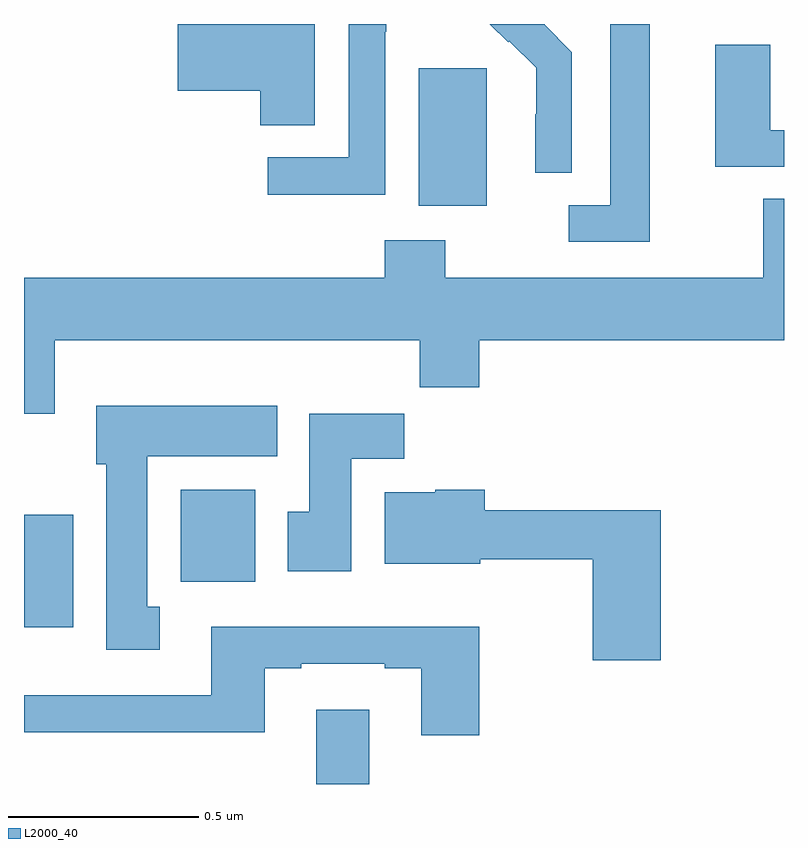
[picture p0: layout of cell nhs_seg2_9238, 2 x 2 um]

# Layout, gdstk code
import gdstk
lib = gdstk.Library(unit=1e-6, precision=1e-09)
def R(c, l, rs):  # rectangles x0, y0, x1, y1
    for r in rs: c.add(gdstk.rectangle(r[:2], r[2:], *l))
def P(c, l, *ps):  # polygons
    for p in ps: c.add(gdstk.Polygon(p, *l))
L2000_40 = (2000, 40)

nhs_seg2_9238 = lib.new_cell('nhs_seg2_9238')
R(nhs_seg2_9238, L2000_40, [(226.769,647.8,226.909,647.995), (226,648.212,226.129,648.508), (226.412,648.332,226.609,648.574), (227.039,649.322,227.218,649.683)])
P(nhs_seg2_9238, L2000_40, [(226.765,649.8),(226.404,649.8),(226.404,649.625),(226.622,649.625),(226.622,649.534),(226.765,649.534)],
  [(227.647,649.8),(227.543,649.8),(227.543,649.323),(227.433,649.323),(227.433,649.227),(227.647,649.227)],
  [(227.442,649.726),(227.369,649.799),(227.37,649.8),(227.226,649.8),(227.274,649.752),(227.277,649.755),(227.348,649.685),(227.348,649.562),(227.346,649.562),(227.346,649.408),(227.442,649.408)],
  [(226.95,649.78),(226.953,649.78),(226.953,649.8),(226.854,649.8),(226.854,649.449),(226.641,649.449),(226.641,649.351),(226.95,649.351)],
  [(228,649.521),(227.964,649.521),(227.964,649.745),(227.819,649.745),(227.819,649.425),(228,649.425)],
  [(226.081,648.968),(227.041,648.968),(227.041,648.844),(227.198,648.844),(227.198,648.968),(228,648.968),(228,649.34),(227.945,649.34),(227.945,649.132),(227.109,649.132),(227.109,649.231),(226.949,649.231),(226.949,649.132),(226,649.132),(226,648.774),(226.081,648.774)],
  [(226.357,648.266),(226.324,648.266),(226.324,648.662),(226.666,648.662),(226.666,648.796),(226.19,648.796),(226.19,648.642),(226.217,648.642),(226.217,648.153),(226.357,648.153)],
  [(226.861,648.656),(227,648.656),(227,648.775),(226.751,648.775),(226.751,648.516),(226.694,648.516),(226.694,648.36),(226.861,648.36)],
  [(227.675,648.52),(227.213,648.52),(227.213,648.574),(227.082,648.574),(227.082,648.568),(226.949,648.568),(226.949,648.38),(227.2,648.38),(227.2,648.391),(227.497,648.391),(227.497,648.126),(227.675,648.126)],
  [(227.198,648.214),(226.493,648.214),(226.493,648.033),(226,648.033),(226,647.936),(226.633,647.936),(226.633,648.105),(226.729,648.105),(226.729,648.117),(226.949,648.117),(226.949,648.105),(227.045,648.105),(227.045,647.928),(227.198,647.928)])

lib.write_gds('nhs_seg2_9238.gds')
